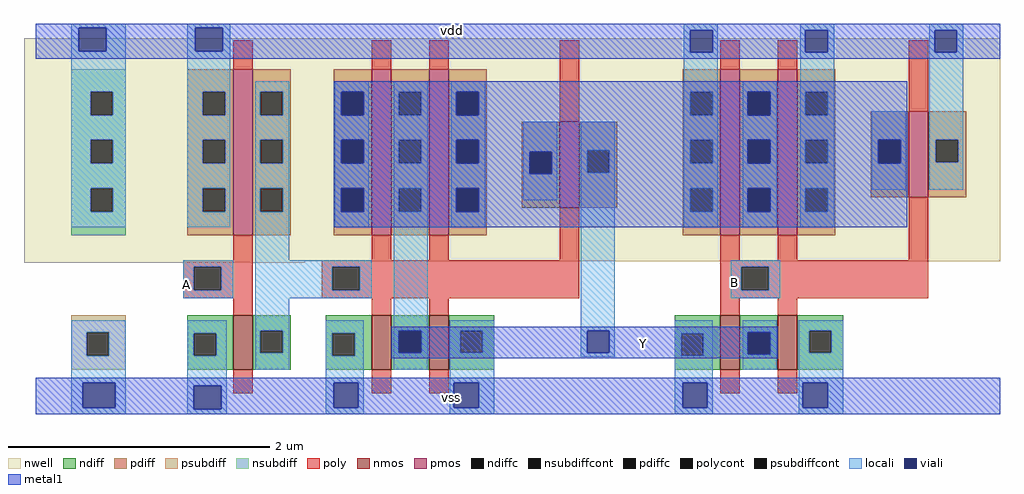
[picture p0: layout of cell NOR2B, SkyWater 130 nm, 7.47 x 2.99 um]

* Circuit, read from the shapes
.subckt NOR2B A B Y vdd vss
XM1 n1 A vss vss sky130_fd_pr__nfet_01v8 w=0.42 l=0.15
XM2 Y n1 vss vss sky130_fd_pr__nfet_01v8 w=0.42 l=0.15 m=2
XM3 Y B vss vss sky130_fd_pr__nfet_01v8 w=0.42 l=0.15 m=2
XM4 n1 A vdd vdd sky130_fd_pr__pfet_01v8 w=1.27 l=0.15
XM5 Y n1 n2 vdd sky130_fd_pr__pfet_01v8 w=1.27 l=0.15 m=2
XM6 Y n1 n2 vdd sky130_fd_pr__pfet_01v8 w=0.66 l=0.15
XM7 n2 B vdd vdd sky130_fd_pr__pfet_01v8 w=1.27 l=0.15 m=2
XM8 vdd B n2 vdd sky130_fd_pr__pfet_01v8 w=0.66 l=0.15
.ends

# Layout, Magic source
magic
tech sky130A
magscale 1 2
<< nwell >>
rect -644 382 850 724
rect -644 380 -214 382
<< nmos >>
rect -324 216 -294 300
rect -112 216 -82 300
rect -24 216 6 300
rect 422 216 452 300
rect 510 216 540 300
<< pmos >>
rect -324 422 -294 676
rect -112 422 -82 676
rect -24 422 6 676
rect 176 464 206 596
rect 422 422 452 676
rect 510 422 540 676
rect 710 480 740 612
<< ndiff >>
rect -394 272 -324 300
rect -394 238 -384 272
rect -350 238 -324 272
rect -394 216 -324 238
rect -294 276 -236 300
rect -294 242 -282 276
rect -248 242 -236 276
rect -294 216 -236 242
rect -182 272 -112 300
rect -182 238 -172 272
rect -138 238 -112 272
rect -182 216 -112 238
rect -82 276 -24 300
rect -82 242 -70 276
rect -36 242 -24 276
rect -82 216 -24 242
rect 6 276 76 300
rect 6 242 24 276
rect 58 242 76 276
rect 6 216 76 242
rect 352 272 422 300
rect 352 238 362 272
rect 396 238 422 272
rect 352 216 422 238
rect 452 274 510 300
rect 452 240 464 274
rect 498 240 510 274
rect 452 216 510 240
rect 540 276 610 300
rect 540 242 558 276
rect 592 242 610 276
rect 540 216 610 242
<< pdiff >>
rect -394 642 -324 676
rect -394 606 -370 642
rect -336 606 -324 642
rect -394 568 -324 606
rect -394 532 -370 568
rect -336 532 -324 568
rect -394 494 -324 532
rect -394 458 -370 494
rect -336 458 -324 494
rect -394 422 -324 458
rect -294 642 -236 676
rect -294 606 -282 642
rect -248 606 -236 642
rect -294 568 -236 606
rect -294 532 -282 568
rect -248 532 -236 568
rect -294 494 -236 532
rect -294 458 -282 494
rect -248 458 -236 494
rect -294 422 -236 458
rect -170 642 -112 676
rect -170 606 -158 642
rect -124 606 -112 642
rect -170 568 -112 606
rect -170 532 -158 568
rect -124 532 -112 568
rect -170 494 -112 532
rect -170 458 -158 494
rect -124 458 -112 494
rect -170 422 -112 458
rect -82 642 -24 676
rect -82 606 -70 642
rect -36 606 -24 642
rect -82 568 -24 606
rect -82 532 -70 568
rect -36 532 -24 568
rect -82 494 -24 532
rect -82 458 -70 494
rect -36 458 -24 494
rect -82 422 -24 458
rect 6 642 64 676
rect 6 606 18 642
rect 52 606 64 642
rect 6 568 64 606
rect 364 642 422 676
rect 364 606 376 642
rect 410 606 422 642
rect 6 532 18 568
rect 52 532 64 568
rect 6 494 64 532
rect 6 458 18 494
rect 52 458 64 494
rect 118 550 176 596
rect 118 516 130 550
rect 164 516 176 550
rect 118 464 176 516
rect 206 552 264 596
rect 206 518 218 552
rect 252 518 264 552
rect 206 464 264 518
rect 364 568 422 606
rect 364 532 376 568
rect 410 532 422 568
rect 364 494 422 532
rect 6 422 64 458
rect 364 458 376 494
rect 410 458 422 494
rect 364 422 422 458
rect 452 642 510 676
rect 452 606 464 642
rect 498 606 510 642
rect 452 568 510 606
rect 452 532 464 568
rect 498 532 510 568
rect 452 494 510 532
rect 452 458 464 494
rect 498 458 510 494
rect 452 422 510 458
rect 540 642 598 676
rect 540 606 552 642
rect 586 606 598 642
rect 540 568 598 606
rect 540 532 552 568
rect 586 532 598 568
rect 540 494 598 532
rect 540 458 552 494
rect 586 458 598 494
rect 652 568 710 612
rect 652 532 664 568
rect 698 532 710 568
rect 652 480 710 532
rect 740 568 798 612
rect 740 534 752 568
rect 786 534 798 568
rect 740 480 798 534
rect 540 422 598 458
<< ndiffc >>
rect -384 238 -350 272
rect -282 242 -248 276
rect -172 238 -138 272
rect -70 242 -36 276
rect 24 242 58 276
rect 362 238 396 272
rect 464 240 498 274
rect 558 242 592 276
<< pdiffc >>
rect -370 606 -336 642
rect -370 532 -336 568
rect -370 458 -336 494
rect -282 606 -248 642
rect -282 532 -248 568
rect -282 458 -248 494
rect -158 606 -124 642
rect -158 532 -124 568
rect -158 458 -124 494
rect -70 606 -36 642
rect -70 532 -36 568
rect -70 458 -36 494
rect 18 606 52 642
rect 376 606 410 642
rect 18 532 52 568
rect 18 458 52 494
rect 130 516 164 550
rect 218 518 252 552
rect 376 532 410 568
rect 376 458 410 494
rect 464 606 498 642
rect 464 532 498 568
rect 464 458 498 494
rect 552 606 586 642
rect 552 532 586 568
rect 552 458 586 494
rect 664 532 698 568
rect 752 534 786 568
<< psubdiff >>
rect -572 274 -488 300
rect -572 238 -548 274
rect -514 238 -488 274
rect -572 216 -488 238
<< nsubdiff >>
rect -572 642 -488 676
rect -572 606 -542 642
rect -508 606 -488 642
rect -572 568 -488 606
rect -572 532 -542 568
rect -508 532 -488 568
rect -572 494 -488 532
rect -572 458 -542 494
rect -508 458 -488 494
rect -572 422 -488 458
<< psubdiffcont >>
rect -548 238 -514 274
<< nsubdiffcont >>
rect -542 606 -508 642
rect -542 532 -508 568
rect -542 458 -508 494
<< poly >>
rect -324 676 -294 721
rect -112 676 -82 721
rect -24 676 6 721
rect 176 596 206 721
rect 422 676 452 721
rect 510 676 540 721
rect -324 384 -294 422
rect -112 384 -82 422
rect -24 384 6 422
rect 176 384 206 464
rect 710 612 740 721
rect -400 374 -294 384
rect -400 338 -384 374
rect -342 338 -294 374
rect -400 326 -294 338
rect -188 374 206 384
rect -188 338 -172 374
rect -130 338 206 374
rect -188 326 206 338
rect 422 384 452 422
rect 510 384 540 422
rect 710 384 740 480
rect 422 374 740 384
rect 422 338 454 374
rect 496 338 740 374
rect 422 326 740 338
rect -324 300 -294 326
rect -112 300 -82 326
rect -24 300 6 326
rect 422 300 452 326
rect 510 300 540 326
rect -324 180 -294 216
rect -112 180 -82 216
rect -24 180 6 216
rect 422 180 452 216
rect 510 180 540 216
<< polycont >>
rect -384 338 -342 374
rect -172 338 -130 374
rect 454 338 496 374
<< locali >>
rect -572 740 -488 746
rect -572 704 -560 740
rect -518 704 -488 740
rect -572 642 -488 704
rect -572 606 -542 642
rect -508 606 -488 642
rect -572 568 -488 606
rect -572 532 -542 568
rect -508 532 -488 568
rect -572 494 -488 532
rect -572 458 -542 494
rect -508 458 -488 494
rect -572 434 -488 458
rect -394 740 -328 746
rect -394 704 -382 740
rect -340 704 -328 740
rect -394 642 -328 704
rect 366 736 418 746
rect 366 702 376 736
rect 410 702 418 736
rect -394 606 -370 642
rect -336 606 -328 642
rect -394 568 -328 606
rect -394 532 -370 568
rect -336 532 -328 568
rect -394 494 -328 532
rect -394 458 -370 494
rect -336 458 -328 494
rect -394 434 -328 458
rect -290 642 -238 658
rect -290 606 -282 642
rect -248 606 -238 642
rect -290 568 -238 606
rect -290 532 -282 568
rect -248 532 -238 568
rect -290 494 -238 532
rect -290 458 -282 494
rect -248 458 -238 494
rect -290 384 -238 458
rect -168 642 -116 658
rect -168 606 -158 642
rect -124 606 -116 642
rect -168 568 -116 606
rect -168 532 -158 568
rect -124 532 -116 568
rect -168 494 -116 532
rect -168 458 -158 494
rect -124 458 -116 494
rect -168 434 -116 458
rect -78 642 -26 658
rect -78 606 -70 642
rect -36 606 -26 642
rect -78 568 -26 606
rect -78 532 -70 568
rect -36 532 -26 568
rect -78 494 -26 532
rect -78 458 -70 494
rect -36 458 -26 494
rect -400 374 -324 384
rect -400 338 -384 374
rect -342 338 -324 374
rect -400 326 -324 338
rect -290 374 -112 384
rect -290 338 -172 374
rect -130 338 -112 374
rect -290 326 -112 338
rect -572 274 -488 292
rect -572 238 -548 274
rect -514 238 -488 274
rect -572 196 -488 238
rect -572 158 -554 196
rect -504 158 -488 196
rect -572 148 -488 158
rect -394 272 -334 292
rect -394 238 -384 272
rect -350 238 -334 272
rect -394 192 -334 238
rect -290 276 -238 326
rect -290 242 -282 276
rect -248 242 -238 276
rect -290 216 -238 242
rect -182 272 -124 292
rect -182 238 -172 272
rect -138 238 -124 272
rect -394 156 -384 192
rect -342 156 -334 192
rect -394 148 -334 156
rect -182 196 -124 238
rect -78 276 -26 458
rect 10 642 62 658
rect 10 606 18 642
rect 52 606 62 642
rect 10 568 62 606
rect 366 642 418 702
rect 544 736 596 746
rect 544 702 552 736
rect 586 702 596 736
rect 366 606 376 642
rect 410 606 418 642
rect 10 532 18 568
rect 52 532 62 568
rect 10 494 62 532
rect 10 458 18 494
rect 52 458 62 494
rect 120 550 172 596
rect 120 516 130 550
rect 164 516 172 550
rect 120 476 172 516
rect 208 552 260 596
rect 208 518 218 552
rect 252 518 260 552
rect 10 434 62 458
rect -78 242 -70 276
rect -36 242 -26 276
rect -78 216 -26 242
rect 8 276 76 292
rect 8 242 24 276
rect 58 242 76 276
rect -182 158 -170 196
rect -132 158 -124 196
rect -182 148 -124 158
rect 8 196 76 242
rect 208 276 260 518
rect 366 568 418 606
rect 366 532 376 568
rect 410 532 418 568
rect 366 494 418 532
rect 366 458 376 494
rect 410 458 418 494
rect 366 434 418 458
rect 456 642 508 658
rect 456 606 464 642
rect 498 606 508 642
rect 456 568 508 606
rect 456 532 464 568
rect 498 532 508 568
rect 456 494 508 532
rect 456 458 464 494
rect 498 458 508 494
rect 456 434 508 458
rect 544 642 596 702
rect 544 606 552 642
rect 586 606 596 642
rect 742 736 794 746
rect 742 702 750 736
rect 784 702 794 736
rect 544 568 596 606
rect 544 532 552 568
rect 586 532 596 568
rect 544 494 596 532
rect 544 458 552 494
rect 586 458 596 494
rect 654 568 706 612
rect 654 532 664 568
rect 698 532 706 568
rect 654 492 706 532
rect 742 568 794 702
rect 742 534 752 568
rect 786 534 794 568
rect 742 492 794 534
rect 544 434 596 458
rect 438 374 514 384
rect 438 338 454 374
rect 496 338 514 374
rect 438 326 514 338
rect 208 242 218 276
rect 252 242 260 276
rect 208 236 260 242
rect 352 272 410 292
rect 352 238 362 272
rect 396 238 410 272
rect 8 158 14 196
rect 52 158 76 196
rect 8 148 76 158
rect 352 196 410 238
rect 456 274 508 292
rect 456 240 464 274
rect 498 240 508 274
rect 456 216 508 240
rect 542 276 610 292
rect 542 242 558 276
rect 592 242 610 276
rect 352 158 364 196
rect 402 158 410 196
rect 352 148 410 158
rect 542 196 610 242
rect 542 158 548 196
rect 586 158 610 196
rect 542 148 610 158
<< viali >>
rect -560 704 -518 740
rect -382 704 -340 740
rect 376 702 410 736
rect -158 606 -124 642
rect -158 532 -124 568
rect -158 458 -124 494
rect -554 158 -504 196
rect -384 156 -342 192
rect 18 606 52 642
rect 552 702 586 736
rect 18 532 52 568
rect 18 458 52 494
rect 130 516 164 550
rect -70 242 -36 276
rect -170 158 -132 196
rect 464 606 498 642
rect 464 532 498 568
rect 464 458 498 494
rect 750 702 784 736
rect 664 532 698 568
rect 218 242 252 276
rect 14 158 52 196
rect 464 240 498 274
rect 364 158 402 196
rect 548 158 586 196
<< metal1 >>
rect -626 740 850 746
rect -626 704 -560 740
rect -518 704 -382 740
rect -340 736 850 740
rect -340 704 376 736
rect -626 702 376 704
rect 410 702 552 736
rect 586 702 750 736
rect 784 702 850 736
rect -626 692 850 702
rect -170 642 708 658
rect -170 606 -158 642
rect -124 606 18 642
rect 52 606 464 642
rect 498 606 708 642
rect -170 568 708 606
rect -170 532 -158 568
rect -124 532 18 568
rect 52 550 464 568
rect 52 532 130 550
rect -170 516 130 532
rect 164 532 464 550
rect 498 532 664 568
rect 698 532 708 568
rect 164 516 708 532
rect -170 494 708 516
rect -170 458 -158 494
rect -124 458 18 494
rect 52 458 464 494
rect 498 458 708 494
rect -170 434 708 458
rect -82 276 510 282
rect -82 242 -70 276
rect -36 242 218 276
rect 252 274 510 276
rect 252 242 464 274
rect -82 240 464 242
rect 498 240 510 274
rect -82 234 510 240
rect -626 196 850 204
rect -626 158 -554 196
rect -504 192 -170 196
rect -504 158 -384 192
rect -626 156 -384 158
rect -342 158 -170 192
rect -132 158 14 196
rect 52 158 364 196
rect 402 158 548 196
rect 586 158 850 196
rect -342 156 850 158
rect -626 148 850 156
<< labels >>
rlabel metal1 12 736 12 736 1 vdd
port 4 n
rlabel locali 10 174 10 174 1 vss
port 5 n
rlabel locali 444 350 444 350 1 B
port 2 n
rlabel metal1 304 256 304 256 1 Y
port 3 n
rlabel locali -396 346 -396 346 1 A
port 1 n
<< end >>
